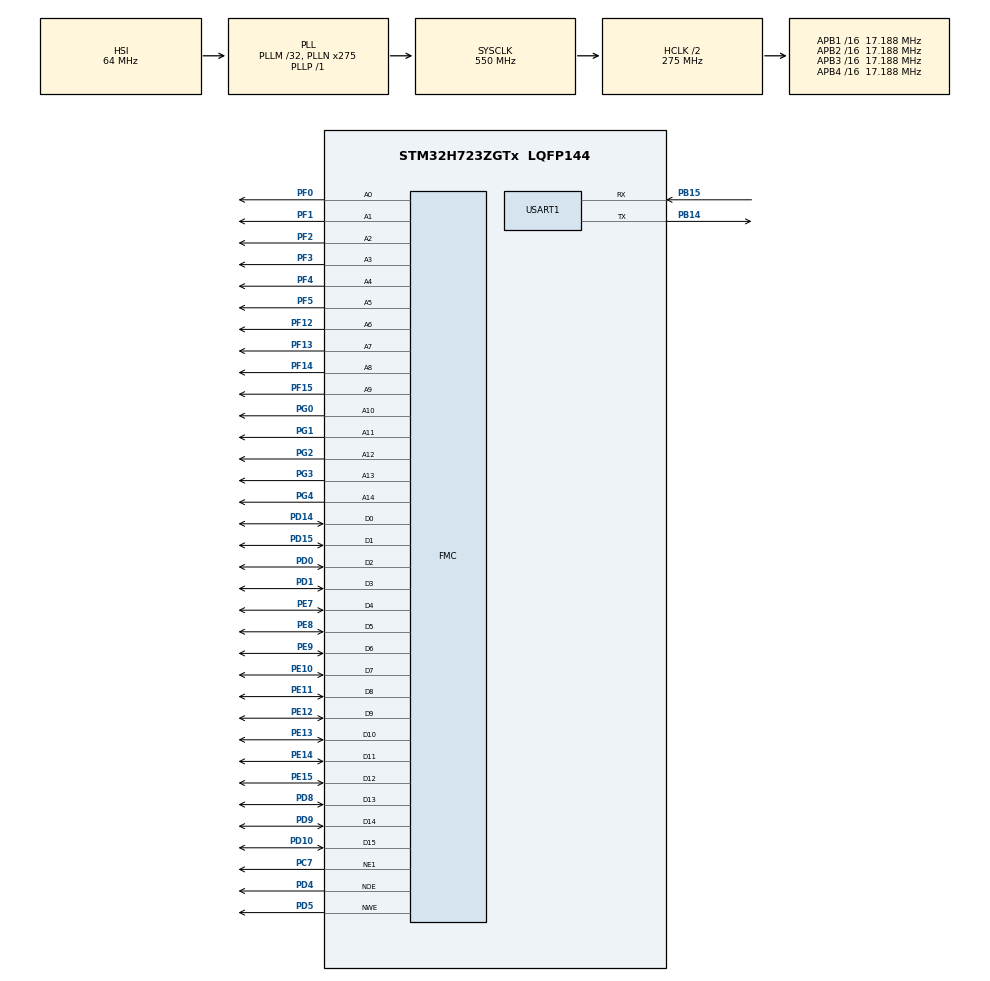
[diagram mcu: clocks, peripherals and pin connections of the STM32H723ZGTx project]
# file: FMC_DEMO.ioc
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CORTEX_M7.AccessPermission_Spec=MPU_REGION_FULL_ACCESS
CORTEX_M7.BaseAddress_Spec=0x60000000
CORTEX_M7.CPU_DCache=Enabled
CORTEX_M7.CPU_ICache=Enabled
CORTEX_M7.MPU_Control=MPU_HFNMI_PRIVDEF
CORTEX_M7.Size_Spec=MPU_REGION_SIZE_256MB
CORTEX_M7.default_mode_Activation=1
Dma.DMA_GENERATOR0.0.Direction=DMA_PERIPH_TO_MEMORY
Dma.DMA_GENERATOR0.0.EventEnable=DISABLE
Dma.DMA_GENERATOR0.0.FIFOMode=DMA_FIFOMODE_DISABLE
Dma.DMA_GENERATOR0.0.Instance=DMA2_Stream0
Dma.DMA_GENERATOR0.0.MemDataAlignment=DMA_MDATAALIGN_HALFWORD
Dma.DMA_GENERATOR0.0.MemInc=DMA_MINC_ENABLE
Dma.DMA_GENERATOR0.0.Mode=DMA_CIRCULAR
Dma.DMA_GENERATOR0.0.PeriphDataAlignment=DMA_PDATAALIGN_HALFWORD
Dma.DMA_GENERATOR0.0.PeriphInc=DMA_PINC_DISABLE
Dma.DMA_GENERATOR0.0.Polarity=HAL_DMAMUX_REQ_GEN_RISING
Dma.DMA_GENERATOR0.0.Priority=DMA_PRIORITY_LOW
Dma.DMA_GENERATOR0.0.RequestNumber=1
Dma.DMA_GENERATOR0.0.SignalID=HAL_DMAMUX1_REQ_GEN_TIM12_TRGO
Dma.DMA_GENERATOR0.0.SyncEnable=DISABLE
Dma.DMA_GENERATOR0.0.SyncPolarity=HAL_DMAMUX_SYNC_NO_EVENT
Dma.DMA_GENERATOR0.0.SyncRequestNumber=1
Dma.DMA_GENERATOR0.0.SyncSignalID=NONE
Dma.Request0=DMA_GENERATOR0
FMC.AddressSetupTime1=4
FMC.BusTurnAroundDuration1=2
FMC.DataSetupTime1=3
FMC.WriteFifo1=FMC_WRITE_FIFO_DISABLE
FMC.WriteOperation1=FMC_WRITE_OPERATION_ENABLE
Mcu.Family=STM32H7
Mcu.Name=STM32H723ZGTx
Mcu.Package=LQFP144
NVIC.PriorityGroup=NVIC_PRIORITYGROUP_4
NVIC.TIM8_BRK_TIM12_IRQn=true\:0\:0\:false\:false\:true\:true\:true\:true
NVIC.USART1_IRQn=true\:0\:0\:false\:false\:true\:true\:true\:true
PB14.Mode=Asynchronous
PB14.Signal=USART1_TX
PB15.Mode=Asynchronous
PB15.Signal=USART1_RX
PC7.Mode=NorPsramChipSelect1_1
PC7.Signal=FMC_NE1
PD0.Signal=FMC_D2_DA2
PD1.Signal=FMC_D3_DA3
PD10.Signal=FMC_D15_DA15
PD14.Signal=FMC_D0_DA0
PD15.Signal=FMC_D1_DA1
PD4.Signal=FMC_NOE
PD5.Signal=FMC_NWE
PD8.Signal=FMC_D13_DA13
PD9.Signal=FMC_D14_DA14
PE10.Signal=FMC_D7_DA7
PE11.Signal=FMC_D8_DA8
PE12.Signal=FMC_D9_DA9
PE13.Signal=FMC_D10_DA10
PE14.Signal=FMC_D11_DA11
PE15.Signal=FMC_D12_DA12
PE7.Signal=FMC_D4_DA4
PE8.Signal=FMC_D5_DA5
PE9.Signal=FMC_D6_DA6
PF0.Signal=FMC_A0
PF1.Signal=FMC_A1
PF12.Signal=FMC_A6
PF13.Signal=FMC_A7
PF14.Signal=FMC_A8
PF15.Signal=FMC_A9
PF2.Signal=FMC_A2
PF3.Signal=FMC_A3
PF4.Signal=FMC_A4
PF5.Signal=FMC_A5
PG0.Signal=FMC_A10
PG1.Signal=FMC_A11
PG2.Signal=FMC_A12
PG3.Signal=FMC_A13
PG4.Signal=FMC_A14_BA0
ProjectManager.HeapSize=0x200
ProjectManager.StackSize=0x400
ProjectManager.TargetToolchain=MDK-ARM V5.32
RCC.ADCFreq_Value=129000000
RCC.APB1Freq_Value=17187500
RCC.APB2Freq_Value=17187500
RCC.APB3Freq_Value=17187500
RCC.APB4Freq_Value=17187500
RCC.CortexFreq_Value=68750000
RCC.Cortex_Div=SYSTICK_CLKSOURCE_HCLK_DIV8
RCC.D1PPRE=RCC_APB3_DIV16
RCC.D2PPRE1=RCC_APB1_DIV16
RCC.D2PPRE2=RCC_APB2_DIV16
RCC.D3PPRE=RCC_APB4_DIV16
RCC.DIVN1=275
RCC.DIVP1=1
RCC.DIVQ1=5
RCC.FMCCLockSelection=RCC_FMCCLKSOURCE_PLL
RCC.HCLKFreq_Value=275000000
RCC.HPRE=RCC_HCLK_DIV2
RCC.PLLFRACN=0
RCC.SYSCLKFreq_VALUE=550000000
RCC.SYSCLKSource=RCC_SYSCLKSOURCE_PLLCLK
RCC.USBFreq_Value=110000000
SH.FMC_A0.0=FMC_A0,15b-a1
SH.FMC_A1.0=FMC_A1,15b-a1
SH.FMC_A10.0=FMC_A10,15b-a1
SH.FMC_A11.0=FMC_A11,15b-a1
SH.FMC_A12.0=FMC_A12,15b-a1
SH.FMC_A13.0=FMC_A13,15b-a1
SH.FMC_A14_BA0.0=FMC_A14,15b-a1
SH.FMC_A2.0=FMC_A2,15b-a1
SH.FMC_A3.0=FMC_A3,15b-a1
SH.FMC_A4.0=FMC_A4,15b-a1
SH.FMC_A5.0=FMC_A5,15b-a1
SH.FMC_A6.0=FMC_A6,15b-a1
SH.FMC_A7.0=FMC_A7,15b-a1
SH.FMC_A8.0=FMC_A8,15b-a1
SH.FMC_A9.0=FMC_A9,15b-a1
SH.FMC_D0_DA0.0=FMC_D0,16b-d1
SH.FMC_D10_DA10.0=FMC_D10,16b-d1
SH.FMC_D11_DA11.0=FMC_D11,16b-d1
SH.FMC_D12_DA12.0=FMC_D12,16b-d1
SH.FMC_D13_DA13.0=FMC_D13,16b-d1
SH.FMC_D14_DA14.0=FMC_D14,16b-d1
SH.FMC_D15_DA15.0=FMC_D15,16b-d1
SH.FMC_D1_DA1.0=FMC_D1,16b-d1
SH.FMC_D2_DA2.0=FMC_D2,16b-d1
SH.FMC_D3_DA3.0=FMC_D3,16b-d1
SH.FMC_D4_DA4.0=FMC_D4,16b-d1
SH.FMC_D5_DA5.0=FMC_D5,16b-d1
SH.FMC_D6_DA6.0=FMC_D6,16b-d1
SH.FMC_D7_DA7.0=FMC_D7,16b-d1
SH.FMC_D8_DA8.0=FMC_D8,16b-d1
SH.FMC_D9_DA9.0=FMC_D9,16b-d1
SH.FMC_NOE.0=FMC_NOE,Sram1
SH.FMC_NWE.0=FMC_NWE,Sram1
TIM12.Period=274
TIM12.Prescaler=0
TIM12.TIM_MasterOutputTrigger=TIM_TRGO_UPDATE
USART1.VirtualMode-Asynchronous=VM_ASYNC
VP_MEMORYMAP_VS_MEMORYMAP.Mode=CurAppReg
VP_TIM12_VS_ClockSourceINT.Mode=Internal
board=custom

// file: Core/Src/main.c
/* USER CODE BEGIN Header */
/**
  ******************************************************************************
  * @file           : main.c
  * @brief          : Main program body
  ******************************************************************************
  * @attention
  *
  * Copyright (c) 2026 STMicroelectronics.
  * All rights reserved.
  *
  * This software is licensed under terms that can be found in the LICENSE file
  * in the root directory of this software component.
  * If no LICENSE file comes with this software, it is provided AS-IS.
  *
  ******************************************************************************
  */
/* USER CODE END Header */
#include "main.h"
#include "dma.h"
#include "tim.h"
#include "usart.h"
#include "gpio.h"
#include "fmc.h"

/* USER CODE BEGIN Includes */
#include "dds.h"
#include "adc.h"
#include <stdio.h>
#include <string.h>
/* USER CODE END Includes */

void SystemClock_Config(void);
static void MPU_Config(void);

int main(void)
{

  /* MPU Configuration--------------------------------------------------------*/
  MPU_Config();

  /* Enable the CPU Cache */

  /* Enable I-Cache---------------------------------------------------------*/
  SCB_EnableICache();

  /* Enable D-Cache---------------------------------------------------------*/
  SCB_EnableDCache();

  /* MCU Configuration--------------------------------------------------------*/

  /* Reset of all peripherals, Initializes the Flash interface and the Systick. */
  HAL_Init();

  /* Configure the system clock */
  SystemClock_Config();

  /* Initialize all configured peripherals */
  MX_GPIO_Init();
  MX_DMA_Init();
  MX_FMC_Init();
  MX_USART1_UART_Init();
  MX_TIM12_Init();
  /* USER CODE BEGIN 2 */

  /* Startup banner (TX only, no interrupt needed) */
  const char *banner =
      "\r\n\r\n"
      "========================================\r\n"
      "  DDS_AD9740  Arbitrary Waveform Gen\r\n"
      "  UART TX: 115200 8N1  (output only)\r\n"
      "========================================\r\n"
			"!!!MPU_InitStruct.SubRegionDisable = 0x00 \r\n";;
  HAL_UART_Transmit(&huart1, (uint8_t *)banner, strlen(banner), 500);

  /*
   * DDS initialization: generates 1024-point sine LUT,
   * writes to FPGA waveform RAM, sets 1 kHz default, enables DAC.
   */
  HAL_UART_Transmit(&huart1, (uint8_t *)"Init DDS...\r\n", 13, 200);
  DDS_Init();

  /* ADC subsystem initialization */
  HAL_UART_Transmit(&huart1, (uint8_t *)"Init ADC...\r\n", 13, 200);
  ADC_Init();

  /*
   * Set ADC sample rate (e.g. 1 MSPS)
   * Step = 1e6 * 2^32 / 10e6 ≈ 429,496,730
   */
  ADC_SetSampleRate(1000000.0f);
  HAL_UART_Transmit(&huart1, (uint8_t *)"ADC sample rate: 1 MSPS\r\n", 25, 200);

  /* Start ADC acquisition (FPGA enable) */
  ADC_Start();
  HAL_UART_Transmit(&huart1, (uint8_t *)"ADC started\r\n", 14, 200);

  /* Start DMA ping-pong (TIM12 1 MHz → DMA2_Stream0 → adc_dma_buf) */
  ADC_DMA_Start();
  HAL_UART_Transmit(&huart1, (uint8_t *)"ADC DMA started (1 MSPS ping-pong)\r\n", 39, 200);

  /*
   * Register dump: read back FPGA control registers and sample waveform RAM
   * to verify FMC communication and DDS configuration.
   */
  {
    char buf[80];
    uint16_t val;
    int i;

    /* --- Control Registers --- */
    HAL_UART_Transmit(&huart1, (uint8_t *)"\r\n--- Control Registers ---\r\n", 27, 200);

    val = FPGA[FTW_ADDR_LO];
    sprintf(buf, "FTW_LO    (0x0400) = 0x%04X (%u)\r\n", val, val);
    HAL_UART_Transmit(&huart1, (uint8_t *)buf, strlen(buf), 100);

    val = FPGA[FTW_ADDR_HI];
    sprintf(buf, "FTW_HI    (0x0401) = 0x%04X (%u)\r\n", val, val);
    HAL_UART_Transmit(&huart1, (uint8_t *)buf, strlen(buf), 100);

    val = FPGA[DAC_CTRL_ADDR];
    sprintf(buf, "DAC_CTRL  (0x040C) = 0x%04X (%s)\r\n", val,
            (val & 0x01) ? "ENABLED" : "DISABLED");
    HAL_UART_Transmit(&huart1, (uint8_t *)buf, strlen(buf), 100);

    /* --- Waveform RAM (first 16 of 1024) --- */
    HAL_UART_Transmit(&huart1, (uint8_t *)"\r\n--- Waveform RAM [0..15] / 1024 ---\r\n", 44, 200);

    for (i = 0; i <1024 ; i = i + 5)
    {
      val = FPGA[WAVEFORM_RAM_BASE + i];
      sprintf(buf, "  RAM : %4u\r\n",  val & 0x03FF);
      HAL_UART_Transmit(&huart1, (uint8_t *)buf, strlen(buf), 100);
			HAL_Delay(1);
    }

    HAL_UART_Transmit(&huart1, (uint8_t *)"--- End of Register Dump ---\r\n\r\n", 31, 200);
  }

  /* USER CODE END 2 */

  /* Infinite loop */
  /* USER CODE BEGIN WHILE */
  while (1)
  {
    /*
     * DDS runs autonomously on FPGA.  STM32 just idles.
     * ADC DMA ping-pong runs in background via TIM12 → DMA2_Stream0.
     * ADC_ProcessData() is called from ISR on each half-buffer completion.
     * USART TX is available for debug output via HAL_UART_Transmit().
     */

    /* Print FIFO status + DMA stats every second */
    {
      char buf[120];
      uint16_t status = ADC_GetFIFOStatus();
      uint16_t count  = ADC_GetFIFOCount();
      bool empty      = ADC_IsFIFOEmpty();

      sprintf(buf, "ADC FIFO: empty=%d full=%d used=%u DMA:running=%d\r\n",
              empty ? 1 : 0,
              (status & 0x0002) ? 1 : 0,
              count,
              ADC_DMA_IsRunning() ? 1 : 0);
      HAL_UART_Transmit(&huart1, (uint8_t *)buf, strlen(buf), 100);
    }

    HAL_Delay(1000);

    /* USER CODE END WHILE */

  }
}

void SystemClock_Config(void)
{
  RCC_OscInitTypeDef RCC_OscInitStruct = {0};
  RCC_ClkInitTypeDef RCC_ClkInitStruct = {0};

  /** Supply configuration update enable
  */
  HAL_PWREx_ConfigSupply(PWR_LDO_SUPPLY);

  /** Configure the main internal regulator output voltage
  */
  __HAL_PWR_VOLTAGESCALING_CONFIG(PWR_REGULATOR_VOLTAGE_SCALE0);

  while(!__HAL_PWR_GET_FLAG(PWR_FLAG_VOSRDY)) {}

  /** Initializes the RCC Oscillators according to the specified parameters
  * in the RCC_OscInitTypeDef structure.
  */
  RCC_OscInitStruct.OscillatorType = RCC_OSCILLATORTYPE_HSI;
  RCC_OscInitStruct.HSIState = RCC_HSI_DIV1;
  RCC_OscInitStruct.HSICalibrationValue = 64;
  RCC_OscInitStruct.PLL.PLLState = RCC_PLL_ON;
  RCC_OscInitStruct.PLL.PLLSource = RCC_PLLSOURCE_HSI;
  RCC_OscInitStruct.PLL.PLLM = 32;
  RCC_OscInitStruct.PLL.PLLN = 275;
  RCC_OscInitStruct.PLL.PLLP = 1;
  RCC_OscInitStruct.PLL.PLLQ = 5;
  RCC_OscInitStruct.PLL.PLLR = 2;
  RCC_OscInitStruct.PLL.PLLRGE = RCC_PLL1VCIRANGE_1;
  RCC_OscInitStruct.PLL.PLLVCOSEL = RCC_PLL1VCOWIDE;
  RCC_OscInitStruct.PLL.PLLFRACN = 0;
  if (HAL_RCC_OscConfig(&RCC_OscInitStruct) != HAL_OK)
  {
    Error_Handler();
  }

  /** Initializes the CPU, AHB and APB buses clocks
  */
  RCC_ClkInitStruct.ClockType = RCC_CLOCKTYPE_HCLK|RCC_CLOCKTYPE_SYSCLK
                              |RCC_CLOCKTYPE_PCLK1|RCC_CLOCKTYPE_PCLK2
                              |RCC_CLOCKTYPE_D3PCLK1|RCC_CLOCKTYPE_D1PCLK1;
  RCC_ClkInitStruct.SYSCLKSource = RCC_SYSCLKSOURCE_PLLCLK;
  RCC_ClkInitStruct.SYSCLKDivider = RCC_SYSCLK_DIV1;
  RCC_ClkInitStruct.AHBCLKDivider = RCC_HCLK_DIV2;
  RCC_ClkInitStruct.APB3CLKDivider = RCC_APB3_DIV16;
  RCC_ClkInitStruct.APB1CLKDivider = RCC_APB1_DIV16;
  RCC_ClkInitStruct.APB2CLKDivider = RCC_APB2_DIV16;
  RCC_ClkInitStruct.APB4CLKDivider = RCC_APB4_DIV16;

  if (HAL_RCC_ClockConfig(&RCC_ClkInitStruct, FLASH_LATENCY_3) != HAL_OK)
  {
    Error_Handler();
  }
}

 /* MPU Configuration */

void MPU_Config(void)
{
  MPU_Region_InitTypeDef MPU_InitStruct = {0};

  /* Disables the MPU */
  HAL_MPU_Disable();

  /** Initializes and configures the Region and the memory to be protected
  */
  MPU_InitStruct.Enable = MPU_REGION_ENABLE;
  MPU_InitStruct.Number = MPU_REGION_NUMBER0;
  MPU_InitStruct.BaseAddress = 0x60000000;
  MPU_InitStruct.Size = MPU_REGION_SIZE_256MB;
  MPU_InitStruct.SubRegionDisable = 0x87;
  MPU_InitStruct.TypeExtField = MPU_TEX_LEVEL0;
  MPU_InitStruct.AccessPermission = MPU_REGION_FULL_ACCESS;
  MPU_InitStruct.DisableExec = MPU_INSTRUCTION_ACCESS_DISABLE;
  MPU_InitStruct.IsShareable = MPU_ACCESS_SHAREABLE;
  MPU_InitStruct.IsCacheable = MPU_ACCESS_NOT_CACHEABLE;
  MPU_InitStruct.IsBufferable = MPU_ACCESS_NOT_BUFFERABLE;

  HAL_MPU_ConfigRegion(&MPU_InitStruct);
  /* Enables the MPU */
  HAL_MPU_Enable(MPU_HFNMI_PRIVDEF);

}

void Error_Handler(void)
{
  __disable_irq();
  while (1)
  {
  }
}
